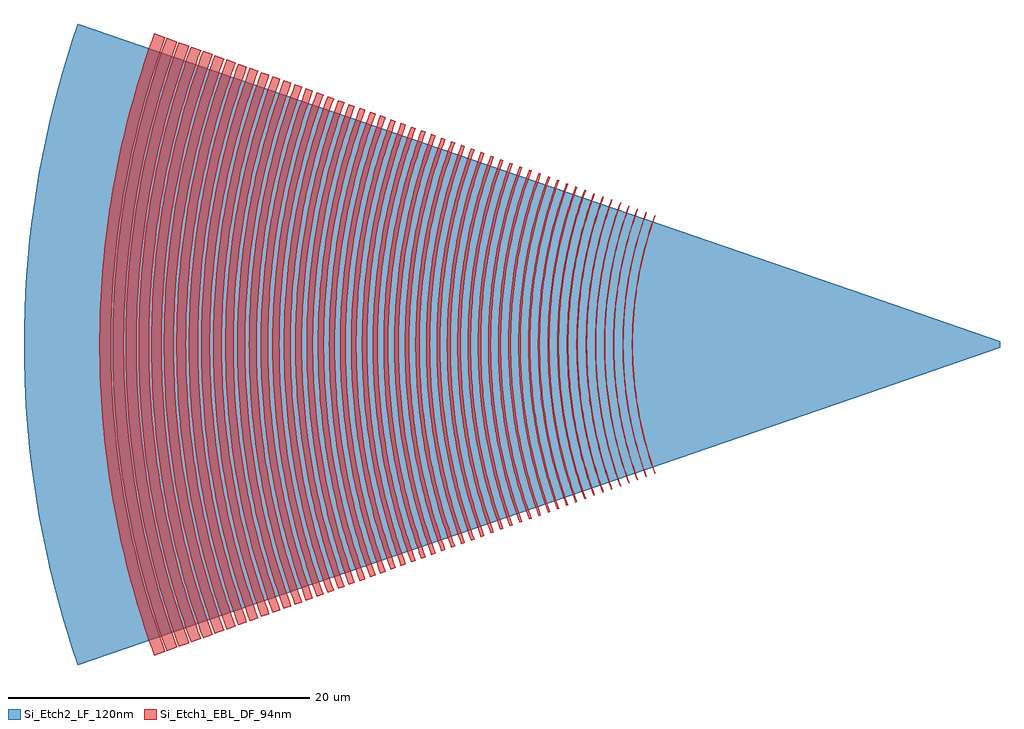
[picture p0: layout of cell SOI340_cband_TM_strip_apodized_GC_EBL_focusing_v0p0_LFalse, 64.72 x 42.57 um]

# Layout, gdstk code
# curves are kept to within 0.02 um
import gdstk
lib = gdstk.Library(unit=1e-6, precision=1e-09)
def P(c, l, *ps):  # polygons
    for p in ps: c.add(gdstk.Polygon(p, *l))
Si_Etch2_LF_120nm = (3, 0)
Si_Etch1_EBL_DF_94nm = (60, 0)

soi340_cband_tm_strip_ap = lib.new_cell('SOI340_cband_TM_strip_apodized_GC_EBL_focusing_v0p0_LFalse')
P(soi340_cband_tm_strip_ap, Si_Etch2_LF_120nm, [(-61.159,-21.284),(-62.189,-18.02),(-62.779,-15.815),(-63.292,-13.592),(-63.728,-11.352),(-64.234,-7.967),(-64.472,-5.698),(-64.562,-4.56),(-64.681,-2.282),(-64.721,0),(-64.681,2.282),(-64.562,4.56),(-64.472,5.698),(-64.234,7.967),(-63.728,11.352),(-63.292,13.592),(-62.779,15.815),(-62.189,18.02),(-61.159,21.284),(0,0.225),(0,-0.225)])
P(soi340_cband_tm_strip_ap, Si_Etch1_EBL_DF_94nm, [(-22.895,-8.571),(-23.042,-8.159),(-23.247,-7.536),(-23.437,-6.908),(-23.553,-6.486),(-23.813,-5.424),(-23.947,-4.781),(-24.026,-4.351),(-24.131,-3.704),(-24.221,-3.054),(-24.312,-2.184),(-24.383,-1.093),(-24.407,0),(-24.383,1.093),(-24.312,2.184),(-24.221,3.054),(-24.131,3.704),(-24.026,4.351),(-23.947,4.781),(-23.813,5.424),(-23.553,6.486),(-23.437,6.908),(-23.247,7.536),(-23.042,8.159),(-22.895,8.571),(-22.839,8.551),(-23.055,7.933),(-23.255,7.309),(-23.438,6.681),(-23.604,6.048),(-23.801,5.198),(-24.004,4.126),(-24.161,3.047),(-24.252,2.179),(-24.323,1.09),(-24.347,0),(-24.323,-1.09),(-24.252,-2.179),(-24.161,-3.047),(-24.004,-4.126),(-23.801,-5.198),(-23.604,-6.048),(-23.438,-6.681),(-23.255,-7.309),(-23.055,-7.933),(-22.839,-8.551)],
  [(-23.48,-8.783),(-23.701,-8.149),(-23.839,-7.722),(-23.971,-7.294),(-24.153,-6.647),(-24.42,-5.558),(-24.513,-5.12),(-24.638,-4.459),(-24.746,-3.796),(-24.808,-3.352),(-24.888,-2.684),(-24.931,-2.238),(-25.004,-1.121),(-25.028,0),(-25.004,1.121),(-24.931,2.238),(-24.888,2.684),(-24.808,3.352),(-24.746,3.796),(-24.638,4.459),(-24.513,5.12),(-24.42,5.558),(-24.153,6.647),(-23.971,7.294),(-23.839,7.722),(-23.701,8.149),(-23.48,8.783),(-23.423,8.763),(-23.644,8.13),(-23.848,7.491),(-24.036,6.847),(-24.207,6.198),(-24.454,5.108),(-24.617,4.229),(-24.749,3.344),(-24.871,2.233),(-24.944,1.118),(-24.968,0),(-24.944,-1.118),(-24.871,-2.233),(-24.749,-3.344),(-24.617,-4.229),(-24.454,-5.108),(-24.207,-6.198),(-24.036,-6.847),(-23.848,-7.491),(-23.644,-8.13),(-23.423,-8.763)],
  [(-24.062,-8.995),(-24.43,-7.909),(-24.629,-7.25),(-24.751,-6.806),(-24.866,-6.363),(-25.024,-5.692),(-25.164,-5.019),(-25.247,-4.567),(-25.423,-3.433),(-25.547,-2.292),(-25.598,-1.606),(-25.622,-1.148),(-25.638,-0.689),(-25.647,0),(-25.638,0.689),(-25.622,1.148),(-25.598,1.606),(-25.547,2.292),(-25.423,3.433),(-25.247,4.567),(-25.164,5.019),(-25.024,5.692),(-24.866,6.363),(-24.751,6.806),(-24.629,7.25),(-24.43,7.909),(-24.062,8.995),(-24.005,8.975),(-24.231,8.326),(-24.44,7.672),(-24.633,7.012),(-24.808,6.348),(-25.014,5.456),(-25.148,4.782),(-25.227,4.331),(-25.332,3.652),(-25.391,3.198),(-25.443,2.743),(-25.506,2.059),(-25.562,1.145),(-25.578,0.687),(-25.587,0),(-25.583,-0.458),(-25.562,-1.145),(-25.506,-2.059),(-25.443,-2.743),(-25.391,-3.198),(-25.332,-3.652),(-25.227,-4.331),(-25.148,-4.782),(-25.014,-5.456),(-24.808,-6.348),(-24.633,-7.012),(-24.44,-7.672),(-24.231,-8.326),(-24.005,-8.975)],
  [(-24.624,-9.2),(-24.782,-8.758),(-25.002,-8.089),(-25.14,-7.64),(-25.33,-6.962),(-25.448,-6.507),(-25.61,-5.822),(-25.753,-5.133),(-25.838,-4.671),(-25.951,-3.976),(-26.047,-3.278),(-26.145,-2.344),(-26.182,-1.876),(-26.221,-1.174),(-26.238,-0.705),(-26.247,0),(-26.238,0.705),(-26.221,1.174),(-26.182,1.876),(-26.145,2.344),(-26.047,3.278),(-25.951,3.976),(-25.838,4.671),(-25.753,5.133),(-25.61,5.822),(-25.448,6.507),(-25.33,6.962),(-25.14,7.64),(-25.002,8.089),(-24.782,8.758),(-24.624,9.2),(-24.568,9.18),(-24.8,8.516),(-25.014,7.847),(-25.211,7.173),(-25.39,6.493),(-25.551,5.809),(-25.648,5.351),(-25.819,4.43),(-25.926,3.735),(-25.987,3.271),(-26.085,2.339),(-26.122,1.872),(-26.161,1.171),(-26.178,0.703),(-26.187,0),(-26.178,-0.703),(-26.161,-1.171),(-26.122,-1.872),(-26.085,-2.339),(-25.987,-3.271),(-25.926,-3.735),(-25.819,-4.43),(-25.648,-5.351),(-25.551,-5.809),(-25.39,-6.493),(-25.211,-7.173),(-25.014,-7.847),(-24.8,-8.516),(-24.568,-9.18)],
  [(-25.187,-9.405),(-25.348,-8.953),(-25.573,-8.269),(-25.781,-7.58),(-25.909,-7.117),(-26.195,-5.952),(-26.341,-5.247),(-26.428,-4.776),(-26.544,-4.065),(-26.61,-3.589),(-26.67,-3.113),(-26.742,-2.396),(-26.795,-1.679),(-26.82,-1.2),(-26.837,-0.72),(-26.846,0),(-26.837,0.72),(-26.82,1.2),(-26.795,1.679),(-26.742,2.396),(-26.67,3.113),(-26.61,3.589),(-26.544,4.065),(-26.428,4.776),(-26.341,5.247),(-26.195,5.952),(-25.909,7.117),(-25.781,7.58),(-25.573,8.269),(-25.348,8.953),(-25.187,9.405),(-25.13,9.384),(-25.367,8.706),(-25.586,8.022),(-25.787,7.332),(-25.97,6.638),(-26.135,5.939),(-26.234,5.47),(-26.409,4.529),(-26.55,3.581),(-26.609,3.106),(-26.681,2.391),(-26.734,1.675),(-26.759,1.197),(-26.776,0.718),(-26.785,0),(-26.776,-0.718),(-26.759,-1.197),(-26.734,-1.675),(-26.681,-2.391),(-26.609,-3.106),(-26.55,-3.581),(-26.409,-4.529),(-26.234,-5.47),(-26.135,-5.939),(-25.97,-6.638),(-25.787,-7.332),(-25.586,-8.022),(-25.367,-8.706),(-25.13,-9.384)],
  [(-25.768,-9.616),(-26.162,-8.455),(-26.505,-7.277),(-26.796,-6.086),(-27.036,-4.883),(-27.222,-3.67),(-27.283,-3.183),(-27.356,-2.45),(-27.436,-1.226),(-27.463,0),(-27.436,1.226),(-27.356,2.45),(-27.283,3.183),(-27.222,3.67),(-27.036,4.883),(-26.796,6.086),(-26.505,7.277),(-26.162,8.455),(-25.768,9.616),(-25.699,9.591),(-25.941,8.898),(-26.165,8.199),(-26.37,7.494),(-26.557,6.784),(-26.827,5.591),(-27.005,4.628),(-27.181,3.418),(-27.304,2.2),(-27.373,0.979),(-27.39,0),(-27.373,-0.979),(-27.304,-2.2),(-27.181,-3.418),(-27.005,-4.628),(-26.827,-5.591),(-26.557,-6.784),(-26.37,-7.494),(-26.165,-8.199),(-25.941,-8.898),(-25.699,-9.591)],
  [(-26.354,-9.83),(-26.757,-8.642),(-27.108,-7.438),(-27.406,-6.22),(-27.651,-4.991),(-27.841,-3.751),(-27.978,-2.504),(-28.06,-1.254),(-28.087,0),(-28.06,1.254),(-27.978,2.504),(-27.841,3.751),(-27.651,4.991),(-27.406,6.22),(-27.108,7.438),(-26.757,8.642),(-26.354,9.83),(-26.274,9.801),(-26.676,8.617),(-27.026,7.416),(-27.21,6.689),(-27.376,5.958),(-27.609,4.729),(-27.788,3.492),(-27.914,2.248),(-27.985,1),(-28.002,0),(-27.985,-1),(-27.914,-2.248),(-27.788,-3.492),(-27.609,-4.729),(-27.376,-5.958),(-27.21,-6.689),(-27.026,-7.416),(-26.676,-8.617),(-26.274,-9.801)],
  [(-26.949,-10.046),(-27.36,-8.833),(-27.719,-7.603),(-28.024,-6.357),(-28.274,-5.101),(-28.469,-3.834),(-28.609,-2.56),(-28.692,-1.281),(-28.72,0),(-28.692,1.281),(-28.609,2.56),(-28.469,3.834),(-28.274,5.101),(-28.024,6.357),(-27.719,7.603),(-27.36,8.833),(-26.949,10.046),(-26.857,10.013),(-27.343,8.559),(-27.69,7.33),(-27.982,6.087),(-28.221,4.832),(-28.372,3.821),(-28.511,2.551),(-28.594,1.277),(-28.622,0),(-28.594,-1.277),(-28.511,-2.551),(-28.372,-3.821),(-28.221,-4.832),(-27.982,-6.087),(-27.69,-7.33),(-27.343,-8.559),(-26.857,-10.013)],
  [(-27.55,-10.264),(-27.97,-9.024),(-28.336,-7.768),(-28.704,-6.24),(-28.903,-5.212),(-29.102,-3.917),(-29.245,-2.616),(-29.331,-1.309),(-29.359,0),(-29.331,1.309),(-29.245,2.616),(-29.102,3.917),(-28.903,5.212),(-28.704,6.24),(-28.336,7.768),(-27.97,9.024),(-27.55,10.264),(-27.448,10.228),(-27.867,8.992),(-28.232,7.74),(-28.598,6.217),(-28.841,4.936),(-29.028,3.644),(-29.159,2.346),(-29.223,1.304),(-29.251,0),(-29.223,-1.304),(-29.159,-2.346),(-29.028,-3.644),(-28.841,-4.936),(-28.598,-6.217),(-28.232,-7.74),(-27.867,-8.992),(-27.448,-10.228)],
  [(-28.15,-10.483),(-28.579,-9.217),(-28.954,-7.933),(-29.271,-6.634),(-29.532,-5.323),(-29.736,-4.001),(-29.882,-2.672),(-29.969,-1.337),(-29.998,0),(-29.969,1.337),(-29.882,2.672),(-29.736,4.001),(-29.532,5.323),(-29.271,6.634),(-28.954,7.933),(-28.579,9.217),(-28.15,10.483),(-28.037,10.442),(-28.465,9.181),(-28.906,7.644),(-29.211,6.348),(-29.459,5.039),(-29.617,3.985),(-29.762,2.661),(-29.849,1.332),(-29.878,0),(-29.849,-1.332),(-29.762,-2.661),(-29.617,-3.985),(-29.459,-5.039),(-29.211,-6.348),(-28.906,-7.644),(-28.465,-9.181),(-28.037,-10.442)],
  [(-28.753,-10.703),(-29.109,-9.67),(-29.574,-8.1),(-29.898,-6.773),(-30.165,-5.434),(-30.372,-4.084),(-30.521,-2.727),(-30.61,-1.365),(-30.64,0),(-30.61,1.365),(-30.521,2.727),(-30.372,4.084),(-30.165,5.434),(-29.898,6.773),(-29.574,8.1),(-29.109,9.67),(-28.753,10.703),(-28.634,10.66),(-29.071,9.372),(-29.452,8.067),(-29.833,6.48),(-30.087,5.144),(-30.282,3.798),(-30.418,2.445),(-30.495,1.088),(-30.514,0),(-30.495,-1.088),(-30.418,-2.445),(-30.282,-3.798),(-30.087,-5.144),(-29.833,-6.48),(-29.452,-8.067),(-29.071,-9.372),(-28.634,-10.66)],
  [(-29.357,-10.923),(-29.805,-9.604),(-30.195,-8.266),(-30.526,-6.912),(-30.798,-5.546),(-31.01,-4.168),(-31.161,-2.783),(-31.253,-1.393),(-31.283,0),(-31.253,1.393),(-31.161,2.783),(-31.01,4.168),(-30.798,5.546),(-30.526,6.912),(-30.195,8.266),(-29.805,9.604),(-29.357,10.923),(-29.227,10.876),(-29.756,9.297),(-30.132,7.962),(-30.507,6.34),(-30.754,4.974),(-30.941,3.6),(-31.047,2.495),(-31.126,1.11),(-31.145,0),(-31.126,-1.11),(-31.047,-2.495),(-30.941,-3.6),(-30.754,-4.974),(-30.507,-6.34),(-30.132,-7.962),(-29.756,-9.297),(-29.227,-10.876)],
  [(-29.973,-11.145),(-30.43,-9.8),(-30.828,-8.436),(-31.165,-7.054),(-31.443,-5.66),(-31.659,-4.254),(-31.814,-2.84),(-31.907,-1.421),(-31.938,0),(-31.907,1.421),(-31.814,2.84),(-31.659,4.254),(-31.443,5.66),(-31.165,7.054),(-30.828,8.436),(-30.43,9.8),(-29.973,11.145),(-29.829,11.094),(-30.368,9.484),(-30.752,8.122),(-31.134,6.467),(-31.386,5.074),(-31.543,3.953),(-31.685,2.545),(-31.754,1.415),(-31.785,0),(-31.754,-1.415),(-31.685,-2.545),(-31.543,-3.953),(-31.386,-5.074),(-31.134,-6.467),(-30.752,-8.122),(-30.368,-9.484),(-29.829,-11.094)],
  [(-30.599,-11.373),(-31.065,-10),(-31.471,-8.608),(-31.816,-7.198),(-32.098,-5.774),(-32.32,-4.341),(-32.477,-2.899),(-32.573,-1.45),(-32.604,0),(-32.573,1.45),(-32.477,2.899),(-32.32,4.341),(-32.098,5.774),(-31.816,7.198),(-31.471,8.608),(-31.065,10),(-30.599,11.373),(-30.439,11.316),(-30.903,9.949),(-31.38,8.284),(-31.77,6.596),(-32.027,5.176),(-32.221,3.746),(-32.332,2.596),(-32.403,1.443),(-32.434,0),(-32.403,-1.443),(-32.332,-2.596),(-32.221,-3.746),(-32.027,-5.176),(-31.77,-6.596),(-31.38,-8.284),(-30.903,-9.949),(-30.439,-11.316)],
  [(-31.233,-11.604),(-31.708,-10.203),(-32.122,-8.782),(-32.474,-7.344),(-32.762,-5.892),(-32.987,-4.428),(-33.149,-2.958),(-33.246,-1.48),(-33.278,0),(-33.246,1.48),(-33.149,2.958),(-32.987,4.428),(-32.762,5.892),(-32.474,7.344),(-32.122,8.782),(-31.708,10.203),(-31.233,11.604),(-31.063,11.544),(-31.536,10.149),(-32.023,8.451),(-32.42,6.729),(-32.682,5.28),(-32.881,3.821),(-32.994,2.648),(-33.066,1.472),(-33.098,0),(-33.066,-1.472),(-32.994,-2.648),(-32.881,-3.821),(-32.682,-5.28),(-32.42,-6.729),(-32.023,-8.451),(-31.536,-10.149),(-31.063,-11.544)],
  [(-31.856,-11.832),(-32.34,-10.403),(-32.764,-8.954),(-33.122,-7.487),(-33.416,-6.007),(-33.646,-4.515),(-33.81,-3.015),(-33.909,-1.509),(-33.942,0),(-33.909,1.509),(-33.81,3.015),(-33.646,4.515),(-33.416,6.007),(-33.122,7.487),(-32.764,8.954),(-32.34,10.403),(-31.856,11.832),(-31.681,11.769),(-32.163,10.347),(-32.66,8.615),(-33.004,7.154),(-33.332,5.383),(-33.5,4.193),(-33.65,2.7),(-33.735,1.201),(-33.756,0),(-33.735,-1.201),(-33.65,-2.7),(-33.5,-4.193),(-33.332,-5.383),(-33.004,-7.154),(-32.66,-8.615),(-32.163,-10.347),(-31.681,-11.769)],
  [(-32.494,-12.064),(-32.988,-10.607),(-33.419,-9.129),(-33.785,-7.635),(-34.085,-6.125),(-34.319,-4.604),(-34.487,-3.074),(-34.588,-1.539),(-34.621,0),(-34.588,1.539),(-34.487,3.074),(-34.319,4.604),(-34.085,6.125),(-33.785,7.635),(-33.419,9.129),(-32.988,10.607),(-32.494,12.064),(-32.3,11.994),(-32.883,10.253),(-33.298,8.78),(-33.649,7.291),(-33.983,5.486),(-34.154,4.274),(-34.307,2.751),(-34.382,1.53),(-34.415,0),(-34.382,-1.53),(-34.307,-2.751),(-34.154,-4.274),(-33.983,-5.486),(-33.649,-7.291),(-33.298,-8.78),(-32.883,-10.253),(-32.3,-11.994)],
  [(-33.132,-12.295),(-33.635,-10.811),(-34.074,-9.305),(-34.447,-7.781),(-34.753,-6.243),(-34.991,-4.693),(-35.162,-3.134),(-35.265,-1.568),(-35.299,0),(-35.265,1.568),(-35.162,3.134),(-34.991,4.693),(-34.753,6.243),(-34.447,7.781),(-34.074,9.305),(-33.635,10.811),(-33.132,12.295),(-32.931,12.223),(-33.432,10.747),(-33.948,8.948),(-34.369,7.125),(-34.646,5.591),(-34.82,4.355),(-34.976,2.804),(-35.052,1.559),(-35.086,0),(-35.052,-1.559),(-34.976,-2.804),(-34.82,-4.355),(-34.646,-5.591),(-34.369,-7.125),(-33.948,-8.948),(-33.432,-10.747),(-32.931,-12.223)],
  [(-33.775,-12.53),(-34.289,-11.017),(-34.735,-9.482),(-35.116,-7.93),(-35.428,-6.363),(-35.67,-4.783),(-35.844,-3.193),(-35.949,-1.598),(-35.984,0),(-35.949,1.598),(-35.844,3.193),(-35.67,4.783),(-35.428,6.363),(-35.116,7.93),(-34.735,9.482),(-34.289,11.017),(-33.775,12.53),(-33.562,12.453),(-34.073,10.949),(-34.598,9.117),(-35.027,7.259),(-35.31,5.696),(-35.487,4.437),(-35.646,2.857),(-35.736,1.271),(-35.758,0),(-35.736,-1.271),(-35.646,-2.857),(-35.487,-4.437),(-35.31,-5.696),(-35.027,-7.259),(-34.598,-9.117),(-34.073,-10.949),(-33.562,-12.453)],
  [(-34.423,-12.766),(-34.946,-11.224),(-35.402,-9.661),(-35.789,-8.08),(-36.107,-6.481),(-36.355,-4.872),(-36.532,-3.254),(-36.639,-1.628),(-36.674,0),(-36.639,1.628),(-36.532,3.254),(-36.355,4.872),(-36.107,6.481),(-35.789,8.08),(-35.402,9.661),(-34.946,11.224),(-34.423,12.766),(-34.199,12.685),(-34.719,11.153),(-35.255,9.286),(-35.626,7.711),(-35.979,5.802),(-36.16,4.52),(-36.322,2.91),(-36.401,1.618),(-36.436,0),(-36.401,-1.618),(-36.322,-2.91),(-36.16,-4.52),(-35.979,-5.802),(-35.626,-7.711),(-35.255,-9.286),(-34.815,-10.844),(-34.199,-12.685)],
  [(-35.074,-13.003),(-35.607,-11.433),(-36.071,-9.841),(-36.466,-8.229),(-36.789,-6.602),(-37.042,-4.963),(-37.222,-3.314),(-37.331,-1.659),(-37.367,0),(-37.331,1.659),(-37.222,3.314),(-37.042,4.963),(-36.789,6.602),(-36.466,8.229),(-36.071,9.841),(-35.607,11.433),(-35.074,13.003),(-34.839,12.918),(-35.467,11.043),(-35.914,9.457),(-36.292,7.853),(-36.652,5.909),(-36.874,4.276),(-37.001,2.963),(-37.094,1.318),(-37.117,0),(-37.094,-1.318),(-37.001,-2.963),(-36.874,-4.276),(-36.652,-5.909),(-36.292,-7.853),(-35.914,-9.457),(-35.467,-11.043),(-34.839,-12.918)],
  [(-35.728,-13.24),(-36.27,-11.642),(-36.743,-10.02),(-37.145,-8.38),(-37.474,-6.723),(-37.731,-5.053),(-37.915,-3.374),(-38.025,-1.689),(-38.062,0),(-38.025,1.689),(-37.915,3.374),(-37.731,5.053),(-37.474,6.723),(-37.145,8.38),(-36.743,10.02),(-36.27,11.642),(-35.728,13.24),(-35.48,13.151),(-36.119,11.242),(-36.574,9.628),(-36.959,7.995),(-37.326,6.015),(-37.552,4.353),(-37.68,3.017),(-37.776,1.342),(-37.799,0),(-37.776,-1.342),(-37.68,-3.017),(-37.552,-4.353),(-37.326,-6.015),(-36.959,-7.995),(-36.574,-9.628),(-36.119,-11.242),(-35.48,-13.151)],
  [(-36.386,-13.479),(-36.938,-11.852),(-37.419,-10.201),(-37.827,-8.531),(-38.163,-6.844),(-38.425,-5.145),(-38.612,-3.435),(-38.725,-1.719),(-38.762,0),(-38.725,1.719),(-38.612,3.435),(-38.425,5.145),(-38.163,6.844),(-37.827,8.531),(-37.419,10.201),(-36.938,11.852),(-36.386,13.479),(-36.126,13.386),(-36.675,11.769),(-37.239,9.8),(-37.631,8.137),(-38.004,6.123),(-38.194,4.77),(-38.365,3.071),(-38.449,1.707),(-38.486,0),(-38.449,-1.707),(-38.365,-3.071),(-38.194,-4.77),(-38.004,-6.123),(-37.631,-8.137),(-37.239,-9.8),(-36.675,-11.769),(-36.126,-13.386)],
  [(-37.046,-13.719),(-37.609,-12.064),(-38.098,-10.384),(-38.514,-8.684),(-38.856,-6.966),(-39.122,-5.237),(-39.312,-3.496),(-39.427,-1.75),(-39.465,0),(-39.427,1.75),(-39.312,3.496),(-39.122,5.237),(-38.856,6.966),(-38.514,8.684),(-38.098,10.384),(-37.609,12.064),(-37.046,13.719),(-36.774,13.622),(-37.333,11.977),(-37.907,9.972),(-38.306,8.281),(-38.686,6.231),(-38.92,4.509),(-39.053,3.125),(-39.152,1.39),(-39.176,0),(-39.152,-1.39),(-39.053,-3.125),(-38.92,-4.509),(-38.686,-6.231),(-38.306,-8.281),(-37.907,-9.972),(-37.333,-11.977),(-36.774,-13.622)],
  [(-37.709,-13.962),(-38.282,-12.275),(-38.78,-10.566),(-39.203,-8.836),(-39.55,-7.089),(-39.821,-5.328),(-40.016,-3.558),(-40.132,-1.781),(-40.171,0),(-40.132,1.781),(-40.016,3.558),(-39.821,5.328),(-39.55,7.089),(-39.203,8.836),(-38.78,10.566),(-38.282,12.275),(-37.709,13.962),(-37.425,13.859),(-37.994,12.185),(-38.578,10.146),(-39.056,8.079),(-39.424,5.99),(-39.609,4.587),(-39.744,3.179),(-39.844,1.414),(-39.869,0),(-39.844,-1.414),(-39.744,-3.179),(-39.609,-4.587),(-39.424,-5.99),(-39.056,-8.079),(-38.578,-10.146),(-37.994,-12.185),(-37.425,-13.859)],
  [(-38.376,-14.204),(-38.958,-12.489),(-39.466,-10.75),(-39.897,-8.989),(-40.25,-7.212),(-40.525,-5.421),(-40.723,-3.62),(-40.842,-1.812),(-40.881,0),(-40.842,1.812),(-40.723,3.62),(-40.525,5.421),(-40.25,7.212),(-39.897,8.989),(-39.466,10.75),(-38.958,12.489),(-38.376,14.204),(-38.079,14.097),(-38.764,12.051),(-39.252,10.32),(-39.738,8.218),(-40.058,6.448),(-40.258,5.023),(-40.438,3.234),(-40.526,1.798),(-40.565,0),(-40.526,-1.798),(-40.438,-3.234),(-40.258,-5.023),(-40.058,-6.448),(-39.738,-8.218),(-39.252,-10.32),(-38.764,-12.051),(-38.079,-14.097)],
  [(-39.046,-14.448),(-39.639,-12.704),(-40.155,-10.935),(-40.592,-9.143),(-40.952,-7.336),(-41.232,-5.514),(-41.433,-3.682),(-41.554,-1.842),(-41.594,0),(-41.554,1.842),(-41.433,3.682),(-41.232,5.514),(-40.952,7.336),(-40.592,9.143),(-40.155,10.935),(-39.639,12.704),(-39.046,14.448),(-38.736,14.336),(-39.432,12.255),(-40.019,10.141),(-40.423,8.357),(-40.804,6.196),(-40.995,4.745),(-41.135,3.289),(-41.224,1.828),(-41.264,0),(-41.224,-1.828),(-41.135,-3.289),(-40.995,-4.745),(-40.804,-6.196),(-40.423,-8.357),(-40.019,-10.141),(-39.432,-12.255),(-38.736,-14.336)],
  [(-39.722,-14.693),(-40.323,-12.92),(-40.848,-11.12),(-41.294,-9.3),(-41.66,-7.461),(-41.944,-5.608),(-42.149,-3.745),(-42.271,-1.874),(-42.312,0),(-42.271,1.874),(-42.149,3.745),(-41.944,5.608),(-41.66,7.461),(-41.294,9.3),(-40.848,11.12),(-40.323,12.92),(-39.722,14.693),(-39.397,14.577),(-40.105,12.461),(-40.701,10.311),(-41.184,8.132),(-41.499,6.3),(-41.693,4.825),(-41.836,3.344),(-41.941,1.487),(-41.967,0),(-41.941,-1.487),(-41.836,-3.344),(-41.693,-4.825),(-41.499,-6.3),(-41.184,-8.132),(-40.701,-10.311),(-40.105,-12.461),(-39.397,-14.577)],
  [(-40.401,-14.941),(-41.013,-13.138),(-41.547,-11.307),(-42,-9.456),(-42.371,-7.587),(-42.661,-5.702),(-42.869,-3.807),(-42.994,-1.906),(-43.035,0),(-42.994,1.906),(-42.869,3.807),(-42.661,5.702),(-42.371,7.587),(-42,9.456),(-41.547,11.307),(-41.013,13.138),(-40.401,14.941),(-40.062,14.819),(-40.782,12.668),(-41.388,10.482),(-41.879,8.267),(-42.199,6.404),(-42.396,4.905),(-42.541,3.399),(-42.649,1.512),(-42.675,0),(-42.649,-1.512),(-42.541,-3.399),(-42.396,-4.905),(-42.199,-6.404),(-41.879,-8.267),(-41.388,-10.482),(-40.782,-12.668),(-40.062,-14.819)],
  [(-41.085,-15.19),(-41.708,-13.356),(-42.249,-11.496),(-42.71,-9.614),(-43.088,-7.713),(-43.383,-5.798),(-43.594,-3.871),(-43.721,-1.937),(-43.763,0),(-43.721,1.937),(-43.594,3.871),(-43.383,5.798),(-43.088,7.713),(-42.71,9.614),(-42.249,11.496),(-41.708,13.356),(-41.085,15.19),(-40.732,15.063),(-41.464,12.876),(-42.08,10.654),(-42.579,8.403),(-42.904,6.51),(-43.147,4.604),(-43.281,3.072),(-43.361,1.537),(-43.388,0),(-43.361,-1.537),(-43.281,-3.072),(-43.147,-4.604),(-42.904,-6.51),(-42.579,-8.403),(-42.08,-10.654),(-41.464,-12.876),(-40.732,-15.063)],
  [(-41.775,-15.44),(-42.407,-13.577),(-42.959,-11.685),(-43.427,-9.773),(-43.811,-7.84),(-44.111,-5.893),(-44.326,-3.935),(-44.454,-1.969),(-44.497,0),(-44.454,1.969),(-44.326,3.935),(-44.111,5.893),(-43.811,7.84),(-43.427,9.773),(-42.959,11.685),(-42.407,13.577),(-41.775,15.44),(-41.407,15.308),(-42.15,13.086),(-42.68,11.207),(-43.207,8.924),(-43.614,6.616),(-43.818,5.067),(-43.968,3.512),(-44.079,1.562),(-44.106,0),(-44.079,-1.562),(-43.968,-3.512),(-43.818,-5.067),(-43.614,-6.616),(-43.207,-8.924),(-42.68,-11.207),(-42.15,-13.086),(-41.407,-15.308)],
  [(-42.47,-15.694),(-43.113,-13.8),(-43.673,-11.877),(-44.149,-9.932),(-44.54,-7.969),(-44.844,-5.99),(-45.062,-3.999),(-45.194,-2.001),(-45.237,0),(-45.194,2.001),(-45.062,3.999),(-44.844,5.99),(-44.54,7.969),(-44.149,9.932),(-43.673,11.877),(-43.113,13.8),(-42.47,15.694),(-42.087,15.556),(-42.843,13.298),(-43.479,11.003),(-43.917,9.068),(-44.33,6.723),(-44.538,5.149),(-44.69,3.569),(-44.787,1.984),(-44.83,0),(-44.787,-1.984),(-44.69,-3.569),(-44.538,-5.149),(-44.33,-6.723),(-43.917,-9.068),(-43.479,-11.003),(-42.843,-13.298),(-42.087,-15.556)],
  [(-43.171,-15.948),(-43.824,-14.024),(-44.394,-12.071),(-44.878,-10.094),(-45.275,-8.099),(-45.584,-6.088),(-45.805,-4.065),(-45.939,-2.034),(-45.983,0),(-45.939,2.034),(-45.805,4.065),(-45.584,6.088),(-45.275,8.099),(-44.878,10.094),(-44.394,12.071),(-43.824,14.024),(-43.171,15.948),(-42.772,15.805),(-43.54,13.511),(-44.087,11.571),(-44.631,9.213),(-45.051,6.831),(-45.262,5.231),(-45.417,3.626),(-45.531,1.613),(-45.559,0),(-45.531,-1.613),(-45.417,-3.626),(-45.262,-5.231),(-45.051,-6.831),(-44.631,-9.213),(-44.087,-11.571),(-43.54,-13.511),(-42.772,-15.805)],
  [(-43.877,-16.205),(-44.541,-14.25),(-45.119,-12.265),(-45.611,-10.256),(-46.014,-8.228),(-46.328,-6.185),(-46.553,-4.13),(-46.689,-2.067),(-46.734,0),(-46.689,2.067),(-46.553,4.13),(-46.328,6.185),(-46.014,8.228),(-45.611,10.256),(-45.119,12.265),(-44.541,14.25),(-43.877,16.205),(-43.463,16.057),(-44.243,13.726),(-44.799,11.755),(-45.352,9.36),(-45.778,6.939),(-46.037,4.907),(-46.18,3.275),(-46.265,1.638),(-46.294,0),(-46.265,-1.638),(-46.18,-3.275),(-46.037,-4.907),(-45.778,-6.939),(-45.352,-9.36),(-44.799,-11.755),(-44.243,-13.726),(-43.463,-16.057)],
  [(-44.589,-16.465),(-45.264,-14.478),(-45.851,-12.46),(-46.351,-10.42),(-46.761,-8.361),(-47.08,-6.284),(-47.309,-4.196),(-47.447,-2.1),(-47.492,0),(-47.447,2.1),(-47.309,4.196),(-47.08,6.284),(-46.761,8.361),(-46.351,10.42),(-45.851,12.46),(-45.264,14.478),(-44.589,16.465),(-44.158,16.31),(-44.827,14.34),(-45.515,11.94),(-46.077,9.507),(-46.51,7.049),(-46.773,4.985),(-46.918,3.326),(-47.005,1.664),(-47.034,0),(-47.005,-1.664),(-46.918,-3.326),(-46.773,-4.985),(-46.51,-7.049),(-46.077,-9.507),(-45.515,-11.94),(-44.827,-14.34),(-44.158,-16.31)],
  [(-45.306,-16.726),(-45.991,-14.707),(-46.589,-12.658),(-47.096,-10.586),(-47.512,-8.493),(-47.837,-6.384),(-48.069,-4.263),(-48.209,-2.133),(-48.255,0),(-48.209,2.133),(-48.069,4.263),(-47.837,6.384),(-47.512,8.493),(-47.096,10.586),(-46.589,12.658),(-45.991,14.707),(-45.306,16.726),(-44.859,16.565),(-45.664,14.16),(-46.237,12.127),(-46.808,9.656),(-47.248,7.159),(-47.469,5.483),(-47.631,3.8),(-47.734,2.113),(-47.78,0),(-47.734,-2.113),(-47.631,-3.8),(-47.469,-5.483),(-47.248,-7.159),(-46.808,-9.656),(-46.237,-12.127),(-45.664,-14.16),(-44.859,-16.565)],
  [(-46.03,-16.989),(-46.726,-14.938),(-47.332,-12.858),(-47.847,-10.752),(-48.271,-8.627),(-48.6,-6.484),(-48.836,-4.33),(-48.978,-2.166),(-49.025,0),(-48.978,2.166),(-48.836,4.33),(-48.6,6.484),(-48.271,8.627),(-47.847,10.752),(-47.332,12.858),(-46.726,14.938),(-46.03,16.989),(-45.565,16.822),(-46.382,14.38),(-47.07,11.899),(-47.544,9.806),(-47.991,7.27),(-48.262,5.141),(-48.411,3.431),(-48.501,1.716),(-48.531,0),(-48.501,-1.716),(-48.411,-3.431),(-48.262,-5.141),(-47.991,-7.27),(-47.544,-9.806),(-47.07,-11.899),(-46.382,-14.38),(-45.565,-16.822)],
  [(-46.76,-17.254),(-47.466,-15.172),(-48.083,-13.058),(-48.606,-10.921),(-49.035,-8.762),(-49.371,-6.586),(-49.61,-4.398),(-49.754,-2.2),(-49.802,0),(-49.754,2.2),(-49.61,4.398),(-49.371,6.586),(-49.035,8.762),(-48.606,10.921),(-48.083,13.058),(-47.466,15.172),(-46.76,17.254),(-46.278,17.082),(-47.108,14.602),(-47.699,12.505),(-48.287,9.957),(-48.741,7.382),(-48.969,5.654),(-49.136,3.918),(-49.26,1.743),(-49.29,0),(-49.26,-1.743),(-49.136,-3.918),(-48.969,-5.654),(-48.741,-7.382),(-48.287,-9.957),(-47.699,-12.505),(-47.108,-14.602),(-46.278,-17.082)],
  [(-47.497,-17.523),(-48.214,-15.408),(-48.84,-13.262),(-49.371,-11.09),(-49.808,-8.898),(-50.147,-6.688),(-50.391,-4.465),(-50.538,-2.235),(-50.586,0),(-50.538,2.235),(-50.391,4.465),(-50.147,6.688),(-49.808,8.898),(-49.371,11.09),(-48.84,13.262),(-48.214,15.408),(-47.497,17.523),(-46.996,17.343),(-47.838,14.825),(-48.548,12.267),(-49.122,9.675),(-49.561,7.057),(-49.776,5.3),(-49.93,3.537),(-50.023,1.77),(-50.054,0),(-50.023,-1.77),(-49.93,-3.537),(-49.776,-5.3),(-49.561,-7.057),(-49.122,-9.675),(-48.548,-12.267),(-47.838,-14.825),(-46.996,-17.343)],
  [(-48.24,-17.793),(-48.968,-15.646),(-49.604,-13.466),(-50.144,-11.261),(-50.587,-9.035),(-50.932,-6.791),(-51.179,-4.535),(-51.327,-2.27),(-51.377,0),(-51.327,2.27),(-51.179,4.535),(-50.932,6.791),(-50.587,9.035),(-50.144,11.261),(-49.604,13.466),(-48.968,15.646),(-48.24,17.793),(-47.721,17.607),(-48.443,15.48),(-49.072,13.324),(-49.606,11.142),(-50.044,8.939),(-50.386,6.719),(-50.63,4.487),(-50.777,2.245),(-50.826,0),(-50.777,-2.245),(-50.63,-4.487),(-50.386,-6.719),(-50.044,-8.939),(-49.606,-11.142),(-49.072,-13.324),(-48.443,-15.48),(-47.721,-17.607)],
  [(-48.99,-18.066),(-49.729,-15.886),(-50.375,-13.673),(-50.923,-11.433),(-51.372,-9.173),(-51.723,-6.896),(-51.974,-4.604),(-52.124,-2.304),(-52.175,0),(-52.124,2.304),(-51.974,4.604),(-51.723,6.896),(-51.372,9.173),(-50.923,11.433),(-50.375,13.673),(-49.729,15.886),(-48.99,18.066),(-48.453,17.873),(-49.185,15.714),(-49.823,13.525),(-50.365,11.31),(-50.81,9.074),(-51.157,6.821),(-51.405,4.554),(-51.554,2.279),(-51.604,0),(-51.554,-2.279),(-51.405,-4.554),(-51.157,-6.821),(-50.81,-9.074),(-50.365,-11.31),(-49.823,-13.525),(-49.185,-15.714),(-48.453,-17.873)],
  [(-49.747,-18.342),(-50.499,-16.128),(-51.154,-13.881),(-51.71,-11.608),(-52.166,-9.314),(-52.522,-7),(-52.777,-4.674),(-52.93,-2.34),(-52.981,0),(-52.93,2.34),(-52.777,4.674),(-52.522,7),(-52.166,9.314),(-51.71,11.608),(-51.154,13.881),(-50.499,16.128),(-49.747,18.342),(-49.19,18.141),(-49.934,15.95),(-50.582,13.728),(-51.132,11.48),(-51.583,9.211),(-51.935,6.923),(-52.187,4.623),(-52.339,2.314),(-52.389,0),(-52.339,-2.314),(-52.187,-4.623),(-51.935,-6.923),(-51.583,-9.211),(-51.132,-11.48),(-50.582,-13.728),(-49.934,-15.95),(-49.19,-18.141)],
  [(-50.511,-18.619),(-51.274,-16.373),(-51.939,-14.091),(-52.503,-11.785),(-52.967,-9.454),(-53.328,-7.107),(-53.587,-4.745),(-53.742,-2.375),(-53.794,0),(-53.742,2.375),(-53.587,4.745),(-53.328,7.107),(-52.967,9.454),(-52.503,11.785),(-51.939,14.091),(-51.274,16.373),(-50.511,18.619),(-49.934,18.412),(-50.689,16.188),(-51.347,13.933),(-51.905,11.652),(-52.363,9.348),(-52.72,7.027),(-52.976,4.692),(-53.13,2.348),(-53.181,0),(-53.13,-2.348),(-52.976,-4.692),(-52.72,-7.027),(-52.363,-9.348),(-51.905,-11.652),(-51.347,-13.933),(-50.689,-16.188),(-49.934,-18.412)],
  [(-51.283,-18.9),(-52.057,-16.619),(-52.731,-14.304),(-53.305,-11.962),(-53.775,-9.598),(-54.143,-7.214),(-54.405,-4.818),(-54.562,-2.411),(-54.615,0),(-54.562,2.411),(-54.405,4.818),(-54.143,7.214),(-53.775,9.598),(-53.305,11.962),(-52.731,14.304),(-52.057,16.619),(-51.283,18.9),(-50.685,18.686),(-51.451,16.428),(-52.118,14.14),(-52.685,11.825),(-53.15,9.487),(-53.513,7.131),(-53.772,4.762),(-53.928,2.383),(-53.98,0),(-53.928,-2.383),(-53.772,-4.762),(-53.513,-7.131),(-53.15,-9.487),(-52.685,-11.825),(-52.118,-14.14),(-51.451,-16.428),(-50.685,-18.686)],
  [(-52.064,-19.183),(-52.849,-16.869),(-53.534,-14.519),(-54.115,-12.142),(-54.593,-9.741),(-54.965,-7.322),(-55.232,-4.889),(-55.391,-2.447),(-55.445,0),(-55.391,2.447),(-55.232,4.889),(-54.965,7.322),(-54.593,9.741),(-54.115,12.142),(-53.534,14.519),(-52.849,16.869),(-52.064,19.183),(-51.444,18.962),(-52.221,16.671),(-52.898,14.349),(-53.473,11.999),(-53.945,9.627),(-54.313,7.236),(-54.576,4.832),(-54.734,2.418),(-54.787,0),(-54.734,-2.418),(-54.576,-4.832),(-54.313,-7.236),(-53.945,-9.627),(-53.473,-11.999),(-52.898,-14.349),(-52.221,-16.671),(-51.444,-18.962)],
  [(-52.85,-19.47),(-53.648,-17.121),(-54.343,-14.736),(-54.934,-12.324),(-55.418,-9.887),(-55.796,-7.432),(-56.066,-4.963),(-56.228,-2.484),(-56.283,0),(-56.228,2.484),(-56.066,4.963),(-55.796,7.432),(-55.418,9.887),(-54.934,12.324),(-54.343,14.736),(-53.648,17.121),(-52.85,19.47),(-52.209,19.24),(-52.998,16.916),(-53.685,14.56),(-54.269,12.176),(-54.747,9.769),(-55.121,7.343),(-55.388,4.903),(-55.548,2.454),(-55.602,0),(-55.548,-2.454),(-55.388,-4.903),(-55.121,-7.343),(-54.747,-9.769),(-54.269,-12.176),(-53.685,-14.56),(-52.998,-16.916),(-52.209,-19.24)],
  [(-53.645,-19.759),(-54.453,-17.375),(-55.159,-14.955),(-55.758,-12.507),(-56.25,-10.033),(-56.634,-7.542),(-56.908,-5.036),(-57.073,-2.52),(-57.128,0),(-57.073,2.52),(-56.908,5.036),(-56.634,7.542),(-56.25,10.033),(-55.758,12.507),(-55.159,14.955),(-54.453,17.375),(-53.645,19.759),(-52.982,19.521),(-53.782,17.163),(-54.479,14.773),(-55.071,12.354),(-55.557,9.911),(-55.936,7.45),(-56.207,4.975),(-56.37,2.49),(-56.424,0),(-56.37,-2.49),(-56.207,-4.975),(-55.936,-7.45),(-55.557,-9.911),(-55.071,-12.354),(-54.479,-14.773),(-53.782,-17.163),(-52.982,-19.521)],
  [(-54.448,-20.052),(-55.269,-17.632),(-55.985,-15.176),(-56.593,-12.691),(-57.092,-10.182),(-57.482,-7.653),(-57.76,-5.11),(-57.927,-2.558),(-57.983,0),(-57.927,2.558),(-57.76,5.11),(-57.482,7.653),(-57.092,10.182),(-56.593,12.691),(-55.985,15.176),(-55.269,17.632),(-54.448,20.052),(-53.762,19.805),(-54.574,17.413),(-55.281,14.987),(-55.881,12.533),(-56.374,10.055),(-56.759,7.558),(-57.034,5.047),(-57.199,2.526),(-57.254,0),(-57.199,-2.526),(-57.034,-5.047),(-56.759,-7.558),(-56.374,-10.055),(-55.881,-12.533),(-55.281,-14.987),(-54.574,-17.413),(-53.762,-19.805)],
  [(-55.26,-20.347),(-56.093,-17.891),(-56.819,-15.401),(-57.436,-12.878),(-57.944,-10.332),(-58.338,-7.766),(-58.62,-5.185),(-58.79,-2.595),(-58.847,0),(-58.79,2.595),(-58.62,5.185),(-58.338,7.766),(-57.944,10.332),(-57.436,12.878),(-56.819,15.401),(-56.093,17.891),(-55.26,20.347),(-54.55,20.092),(-55.374,17.665),(-56.091,15.205),(-56.7,12.715),(-57.201,10.201),(-57.59,7.668),(-57.869,5.12),(-58.037,2.562),(-58.093,0),(-58.037,-2.562),(-57.869,-5.12),(-57.59,-7.668),(-57.201,-10.201),(-56.7,-12.715),(-56.091,-15.205),(-55.374,-17.665),(-54.55,-20.092)],
  [(-56.081,-20.646),(-56.927,-18.155),(-57.663,-15.626),(-58.29,-13.067),(-58.804,-10.484),(-59.204,-7.88),(-59.491,-5.262),(-59.663,-2.634),(-59.721,0),(-59.663,2.634),(-59.491,5.262),(-59.204,7.88),(-58.804,10.484),(-58.29,13.067),(-57.663,15.626),(-56.927,18.155),(-56.081,20.646),(-55.346,20.382),(-56.182,17.92),(-56.909,15.424),(-57.527,12.898),(-58.035,10.348),(-58.43,7.778),(-58.713,5.194),(-58.883,2.599),(-58.94,0),(-58.883,-2.599),(-58.713,-5.194),(-58.43,-7.778),(-58.035,-10.348),(-57.527,-12.898),(-56.909,-15.424),(-56.182,-17.92),(-55.346,-20.382)])

lib.write_gds('SOI340_cband_TM_strip_apodized_GC_EBL_focusing_v0p0_LFalse.gds')
